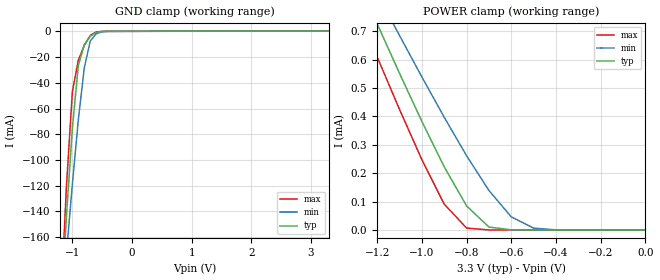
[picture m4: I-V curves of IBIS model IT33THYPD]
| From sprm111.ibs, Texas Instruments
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[Model]   IT33THYPD
Model_type   Input
Polarity   Non-Inverting
| signals   A, Y
Vinl = 0.8V
Vinh = 2.0V
|   typ   min   max
C_comp   1.5797p   1.5046p   1.7659p
|   typ   min   max
[Temperature Range]   25   -40   125
|   typ   min   max
[Voltage Range]   3.30V   3.00V   3.60V
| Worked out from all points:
|   GND clamp passes 1 mA (typ) near -0.61 V on its own axis
|   POWER clamp passes 1 mA (typ) near -1.35 V on its own axis
[GND_clamp]
|   Voltage   I(typ)   I(min)   I(max)
-3.3V     -2.003A    -1.514A    -2.598A
-1.2V     -221mA     -229.9mA   -219.1mA
-1.1V     -144.4mA   -173.2mA   -120.9mA
-1V       -75.23mA   -118.8mA   -46.95mA
-900mV    -26.63mA   -68.7mA    -22.36mA
-800mV    -10.29mA   -28.37mA   -10.92mA
-700mV    -3.831mA   -7.562mA   -3.281mA
-600mV    -789.8uA   -1.866mA   -448.7uA
-500mV    -112.8uA   -355.1uA   -87.29uA
-400mV    -39.84uA   -61.49uA   -56.21uA
3.3V      100.8uA    52.19uA    177.3uA
[POWER_clamp]
|   Voltage   I(typ)   I(min)   I(max)
-3.3V     4.588mA    4.102mA    4.731mA
-1.3V     903uA      983.5uA    798.1uA
-1.2V     725.8uA    833.2uA    609.3uA
-1.1V     551.6uA    684.6uA    424.5uA
-1V       382.2uA    538.7uA    247.4uA
-900mV    222.1uA    396.7uA    90.8uA
-800mV    84.67uA    261.3uA    6.783uA
-700mV    10.3uA     138.9uA    73.72nA
-600mV    329.7nA    46.05uA    888.2pA
-500mV    8.438nA    6.46uA     177.6pA
-400mV    355.3pA    466.6nA    177.6pA
0V        222pA      2.398nA    133.2pA
